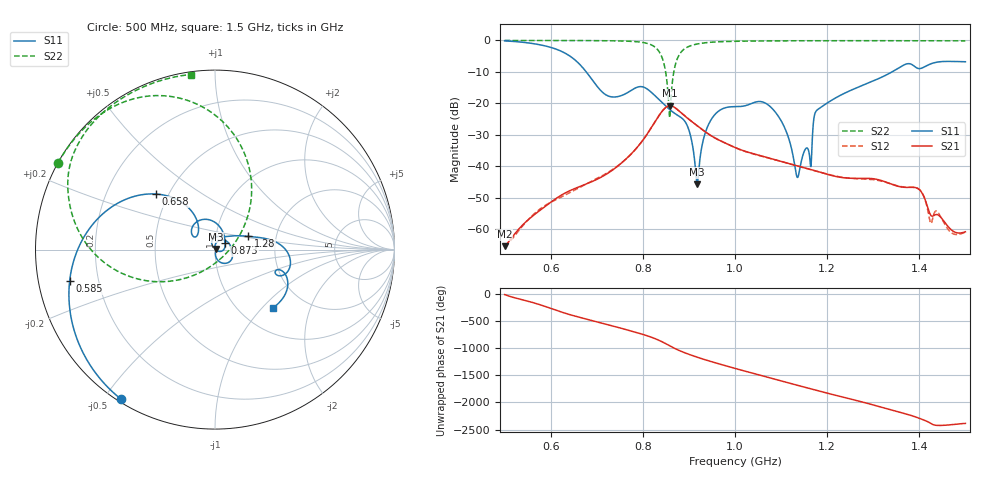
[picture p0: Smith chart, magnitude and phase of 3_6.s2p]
! TOUCHSTONE file generated by CST MICROWAVE STUDIO
! Date and time: Sat Oct 24 11:42:51 2020
! Project name: Scenario_1_Circular_Tissue_out_of_Line.cst
! Parameters = {dy1=-311.318; L_HA=400; MT=2.54; Rad_Dielectric=30; Rad_Lower=7.3; Rad_Upper=30; a_HA=580; a_WG=246; b_HA=500; b_WG=121; c_HA=0; c_WG=187; d_feed=85; dx1=1039; h_feed=15; h_lower=18; h_upper=40}
! Header version: 2018
! Port assignment regex: !\s*Touchstone port\s*([0-9]+)\s*=\s*(CST MWS port|CST DS port)\s*([0-9]+|Zmin|Zmax)\s*\(\"(.*)\"\)(\s*mode\s*([0-9]+))?.*
! Touchstone port assignment:
! Touchstone port 1 = CST MWS port 1 ("")
! Touchstone port 2 = CST MWS port 2 ("")
# GHz S DB R 50
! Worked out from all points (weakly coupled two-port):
!   1001 points, 500 MHz to 1.5 GHz, reference 50 ohm
!   highest |S21| = -20.73 dB at 859 MHz (marker M1); lowest = -65.3 dB at 500 MHz (marker M2)
!   lowest |S11| = -45.6 dB at 918 MHz (marker M3), VSWR 1.01, Z = 50.4 + j0.297 ohm
!   |S11| at or under -10 dB: 677.2 MHz to 1.341 GHz (663.3 MHz wide, 65.7 % of centre)
!   |S22| runs from -24.6 to 0.0 dB; largest |S21 - S12| = 0.00063
!   S11 on the Smith chart (normalised r, x): 500 MHz: 0.01, -0.55; 585 MHz: 0.09, -0.11; 658 MHz: 0.43, +0.33; 873 MHz: 1.12, +0.08; 1.28 GHz: 1.43, +0.22; 1.5 GHz: 1.40, -1.16
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0.5  -0.14 -122.3  -65.30 -18.0  -65.25 -18.1  -0.01 151.1
0.585  -1.64 -167.9  -53.01 131.9  -52.66 131.3  -0.02 145.2
0.658  -6.88 136.8  -46.67 -65.6  -47.04 -64.7  -0.04 139.2
0.667  -8.23 130.5  -46.15 -85.6  -46.36 -85.2  -0.04 138.4
0.724  -17.58 135.2  -42.16 149.9  -41.91 148.7  -0.10 131.7
0.779  -15.48 141.4  -35.36 21.7  -35.40 22.1  -0.33 120.7
0.834  -18.62 71.5  -24.07 -134.4  -24.06 -134.5  -3.27 84.0
0.859  -22.02 46.8  -20.73 117.5  -20.71 117.5  -23.54 -77.0
0.873  -23.53 32.5  -21.70 57.0  -21.71 57.0  -6.52 -160.2
0.899  -28.03 -11.6  -24.92 -32.4  -24.92 -32.4  -1.95 168.7
0.918  -45.65 34.3  -27.08 -88.7  -27.08 -88.7  -1.13 158.8
0.947  -25.43 66.6  -30.14 -165.7  -30.14 -165.6  -0.58 149.8
1  -21.01 4.6  -33.97 65.9  -34.02 66.0  -0.27 140.3
1.082  -21.80 -64.4  -37.66 -122.4  -37.66 -121.9  -0.14 131.4
1.135  -43.45 -28.3  -39.80 117.0  -39.83 116.8  -0.11 126.8
1.167  -33.74 122.5  -41.08 44.8  -41.12 44.7  -0.10 124.2
1.179  -21.99 68.0  -41.59 17.9  -41.61 18.0  -0.09 123.3
1.28  -14.07 22.0  -43.74 160.9  -43.97 160.4  -0.08 115.6
1.334  -10.53 11.5  -45.31 35.1  -45.32 35.1  -0.09 111.5
1.398  -8.92 -20.8  -47.11 -123.8  -47.07 -123.8  -0.10 106.5
1.425  -7.43 -20.6  -55.52 135.2  -58.08 123.7  -0.10 104.3
1.5  -6.76 -45.2  -60.75 136.1  -60.83 135.1  -0.13 97.9
